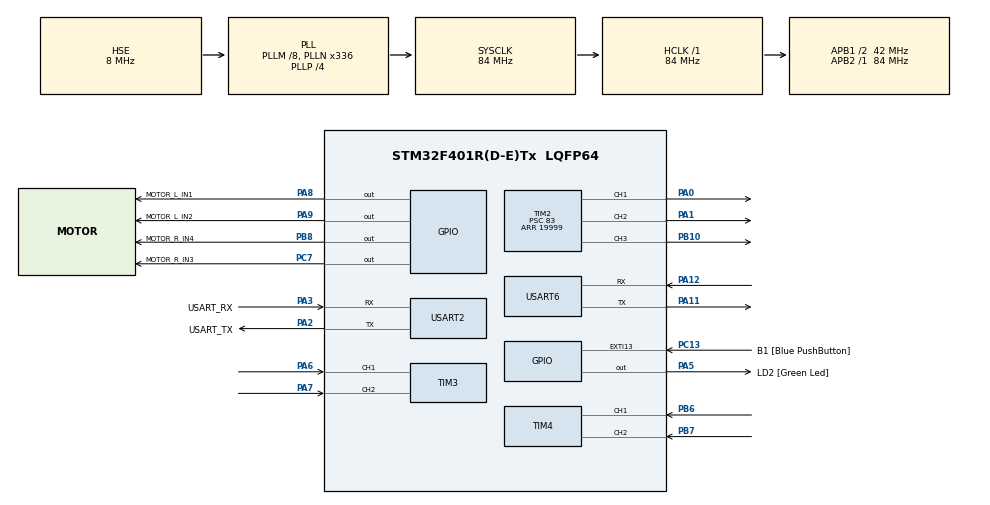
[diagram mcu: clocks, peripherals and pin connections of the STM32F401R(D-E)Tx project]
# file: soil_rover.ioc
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Dma.Request0=USART2_RX
Dma.Request1=USART2_TX
Dma.USART2_RX.0.Direction=DMA_PERIPH_TO_MEMORY
Dma.USART2_RX.0.FIFOMode=DMA_FIFOMODE_DISABLE
Dma.USART2_RX.0.Instance=DMA1_Stream5
Dma.USART2_RX.0.MemDataAlignment=DMA_MDATAALIGN_BYTE
Dma.USART2_RX.0.MemInc=DMA_MINC_ENABLE
Dma.USART2_RX.0.Mode=DMA_CIRCULAR
Dma.USART2_RX.0.PeriphDataAlignment=DMA_PDATAALIGN_BYTE
Dma.USART2_RX.0.PeriphInc=DMA_PINC_DISABLE
Dma.USART2_RX.0.Priority=DMA_PRIORITY_LOW
Dma.USART2_TX.1.Direction=DMA_MEMORY_TO_PERIPH
Dma.USART2_TX.1.FIFOMode=DMA_FIFOMODE_DISABLE
Dma.USART2_TX.1.Instance=DMA1_Stream6
Dma.USART2_TX.1.MemDataAlignment=DMA_MDATAALIGN_BYTE
Dma.USART2_TX.1.MemInc=DMA_MINC_ENABLE
Dma.USART2_TX.1.Mode=DMA_NORMAL
Dma.USART2_TX.1.PeriphDataAlignment=DMA_PDATAALIGN_BYTE
Dma.USART2_TX.1.PeriphInc=DMA_PINC_DISABLE
Dma.USART2_TX.1.Priority=DMA_PRIORITY_LOW
FREERTOS.Tasks01=microROSTask,24,2000,micro_ros_task,Default,NULL,Dynamic,NULL,NULL
FREERTOS.configMINIMAL_STACK_SIZE=256
FREERTOS.configTOTAL_HEAP_SIZE=40960
FREERTOS.configUSE_NEWLIB_REENTRANT=1
Mcu.Family=STM32F4
Mcu.Name=STM32F401R(D-E)Tx
Mcu.Package=LQFP64
NVIC.DMA1_Stream5_IRQn=true\:5\:0\:false\:false\:true\:true\:false\:true\:true
NVIC.DMA1_Stream6_IRQn=true\:5\:0\:false\:false\:true\:true\:false\:true\:true
NVIC.PriorityGroup=NVIC_PRIORITYGROUP_4
NVIC.TIM5_IRQn=true\:15\:0\:false\:false\:true\:false\:false\:true\:true
NVIC.TimeBase=TIM5_IRQn
NVIC.TimeBaseIP=TIM5
NVIC.USART2_IRQn=true\:5\:0\:false\:false\:true\:true\:true\:true\:true
PA0-WKUP.Signal=S_TIM2_CH1_ETR
PA1.Signal=S_TIM2_CH2
PA11.Mode=Asynchronous
PA11.Signal=USART6_TX
PA12.Mode=Asynchronous
PA12.Signal=USART6_RX
PA13.GPIO_Label=TMS
PA13.Signal=SYS_JTMS-SWDIO
PA14.GPIO_Label=TCK
PA14.Signal=SYS_JTCK-SWCLK
PA2.GPIO_Label=USART_TX
PA2.GPIO_Mode=GPIO_MODE_AF_PP
PA2.GPIO_PuPd=GPIO_NOPULL
PA2.GPIO_Speed=GPIO_SPEED_FREQ_LOW
PA2.Mode=Asynchronous
PA2.Signal=USART2_TX
PA3.GPIO_Label=USART_RX
PA3.GPIO_Mode=GPIO_MODE_AF_PP
PA3.GPIO_PuPd=GPIO_NOPULL
PA3.GPIO_Speed=GPIO_SPEED_FREQ_LOW
PA3.Mode=Asynchronous
PA3.Signal=USART2_RX
PA5.GPIO_Label=LD2 [Green Led]
PA5.GPIO_Mode=GPIO_MODE_OUTPUT_PP
PA5.GPIO_PuPd=GPIO_NOPULL
PA5.GPIO_Speed=GPIO_SPEED_FREQ_LOW
PA5.Signal=GPIO_Output
PA6.GPIO_PuPd=GPIO_PULLUP
PA6.Signal=S_TIM3_CH1
PA7.GPIO_PuPd=GPIO_PULLUP
PA7.Signal=S_TIM3_CH2
PA8.GPIO_Label=MOTOR_L_IN1
PA8.Signal=GPIO_Output
PA9.GPIO_Label=MOTOR_L_IN2
PA9.Signal=GPIO_Output
PB10.Signal=S_TIM2_CH3
PB3.GPIO_Label=SWO
PB3.Signal=SYS_JTDO-SWO
PB6.GPIO_PuPd=GPIO_PULLUP
PB6.Signal=S_TIM4_CH1
PB7.GPIO_PuPd=GPIO_PULLUP
PB7.Signal=S_TIM4_CH2
PB8.GPIO_Label=MOTOR_R_IN4
PB8.Signal=GPIO_Output
PC13-ANTI_TAMP.GPIO_Label=B1 [Blue PushButton]
PC13-ANTI_TAMP.GPIO_ModeDefaultEXTI=GPIO_MODE_IT_FALLING
PC13-ANTI_TAMP.GPIO_PuPd=GPIO_NOPULL
PC13-ANTI_TAMP.Signal=GPXTI13
PC14-OSC32_IN.Signal=RCC_OSC32_IN
PC15-OSC32_OUT.Signal=RCC_OSC32_OUT
PC7.GPIO_Label=MOTOR_R_IN3
PC7.Signal=GPIO_Output
PH0\ -\ OSC_IN.Mode=HSE-External-Clock-Source
PH0\ -\ OSC_IN.Signal=RCC_OSC_IN
PH1\ -\ OSC_OUT.Mode=HSE-External-Clock-Source
PH1\ -\ OSC_OUT.Signal=RCC_OSC_OUT
ProjectManager.HeapSize=0x200
ProjectManager.StackSize=0x400
ProjectManager.TargetToolchain=STM32CubeIDE
RCC.48MHZClocksFreq_Value=48000000
RCC.AHBFreq_Value=84000000
RCC.APB1CLKDivider=RCC_HCLK_DIV2
RCC.APB1Freq_Value=42000000
RCC.APB1TimFreq_Value=84000000
RCC.APB2Freq_Value=84000000
RCC.APB2TimFreq_Value=84000000
RCC.CortexFreq_Value=84000000
RCC.HCLKFreq_Value=84000000
RCC.HSE_VALUE=8000000
RCC.HSI_VALUE=16000000
RCC.LSE_VALUE=32768
RCC.PLLM=8
RCC.PLLN=336
RCC.PLLP=RCC_PLLP_DIV4
RCC.PLLQ=7
RCC.PLLSourceVirtual=RCC_PLLSOURCE_HSE
RCC.SYSCLKFreq_VALUE=84000000
RCC.SYSCLKSource=RCC_SYSCLKSOURCE_PLLCLK
RCC.VCOOutputFreq_Value=336000000
SH.S_TIM2_CH1_ETR.0=TIM2_CH1,PWM Generation1 CH1
SH.S_TIM2_CH2.0=TIM2_CH2,PWM Generation2 CH2
SH.S_TIM2_CH3.0=TIM2_CH3,PWM Generation3 CH3
SH.S_TIM3_CH1.0=TIM3_CH1,Encoder_Interface
SH.S_TIM3_CH2.0=TIM3_CH2,Encoder_Interface
SH.S_TIM4_CH1.0=TIM4_CH1,Encoder_Interface
SH.S_TIM4_CH2.0=TIM4_CH2,Encoder_Interface
TIM2.Channel-PWM\ Generation1\ CH1=TIM_CHANNEL_1
TIM2.Channel-PWM\ Generation2\ CH2=TIM_CHANNEL_2
TIM2.Channel-PWM\ Generation3\ CH3=TIM_CHANNEL_3
TIM2.Period=19999
TIM2.Prescaler=83
TIM2.Pulse-PWM\ Generation1\ CH1=1500
TIM3.EncoderMode=TIM_ENCODERMODE_TI12
TIM4.EncoderMode=TIM_ENCODERMODE_TI12
USART2.VirtualMode=VM_ASYNC
USART6.VirtualMode=VM_ASYNC
VP_FREERTOS_VS_CMSIS_V2.Mode=CMSIS_V2
VP_SYS_VS_tim5.Mode=TIM5
VP_TIM2_VS_ClockSourceINT.Mode=Internal
board=NUCLEO-F401RE

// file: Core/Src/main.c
/* USER CODE BEGIN Header */
/**
  ******************************************************************************
  * @file           : main.c
  * @brief          : Main program body
  ******************************************************************************
  * @attention
  *
  * Copyright (c) 2026 STMicroelectronics.
  * All rights reserved.
  *
  * This software is licensed under terms that can be found in the LICENSE file
  * in the root directory of this software component.
  * If no LICENSE file comes with this software, it is provided AS-IS.
  *
  ******************************************************************************
  */
/* USER CODE END Header */
#include "main.h"
#include "cmsis_os.h"

/* USER CODE BEGIN Includes */
#include <rcl/rcl.h>
#include <rcl/error_handling.h>
#include <rclc/rclc.h>
#include <rclc/executor.h>
#include <geometry_msgs/msg/twist.h>
#include <std_msgs/msg/int32.h>
#include <rmw_microros/rmw_microros.h>
#include <math.h>

extern bool cubemx_transport_open(struct uxrCustomTransport *transport);
extern bool cubemx_transport_close(struct uxrCustomTransport *transport);
extern size_t cubemx_transport_write(struct uxrCustomTransport *transport,
    const uint8_t *buf, size_t len, uint8_t *err);
extern size_t cubemx_transport_read(struct uxrCustomTransport *transport,
    uint8_t *buf, size_t len, int timeout, uint8_t *err);
/* USER CODE END Includes */

TIM_HandleTypeDef htim2;
TIM_HandleTypeDef htim3;
TIM_HandleTypeDef htim4;

UART_HandleTypeDef huart2;
UART_HandleTypeDef huart6;
DMA_HandleTypeDef hdma_usart2_rx;
DMA_HandleTypeDef hdma_usart2_tx;

/* Definitions for microROSTask */
osThreadId_t microROSTaskHandle;
const osThreadAttr_t microROSTask_attributes = {
  .name = "microROSTask",
  .stack_size = 2000 * 4,
  .priority = (osPriority_t) osPriorityNormal,
};
/* USER CODE BEGIN PV */
geometry_msgs__msg__Twist cmd_vel_msg;
std_msgs__msg__Int32      rover_status_msg;
geometry_msgs__msg__Twist wheel_odom_msg;
static uint32_t last_cmd_vel_time = 0;
#define CMD_VEL_TIMEOUT_MS  500  /* 500ms 타임아웃 */

/* 엔코더 상수 */
#define ENCODER_PPR        3087 /*1300   /* 26 × 50 (감속비) */
#define WHEEL_DIAMETER_M   0.08f /* 85mm */
#define WHEEL_CIRCUMFERENCE (3.14159f * WHEEL_DIAMETER_M)
/* 엔코더 변수 */
static int32_t enc_left_prev  = 0;
static int32_t enc_right_prev = 0;
static float   vel_left  = 0.0f;  /* m/s */
static float   vel_right = 0.0f;  /* m/s */

/* Ackermann 기하학 파라미터 */
#define WHEELBASE_M      0.175f  /* 축거 L */
#define TRACK_WIDTH_M    0.200f  /* 바퀴 간 거리 T */
#define MAX_STEER_ANGLE_RAD  0.5236f  /* 30도 = 0.5236 rad, 실측 후 조정 필요 */

/* ESP32로 전송할 텔레메트리 구조체 */
typedef struct __attribute__((packed)) {
    uint8_t  header;      /* 0xAA 고정 */
    uint16_t battery_mv;  /* 배터리 전압 */
    int16_t  motor_l_pwm; /* 왼쪽 모터 PWM */
    int16_t  motor_r_pwm; /* 오른쪽 모터 PWM */
    float    heading;     /* 방향각 */
    uint8_t  status;      /* 0:대기 1:주행 2:비상정지 */
    uint8_t  checksum;    /* XOR 체크섬 */
} rover_telem_t;

/* PID 게인 (초기값, 튜닝 필요) */
#define PID_KP   0.6f
#define PID_KI   0.6f
#define PID_KD   0.02f
#define PID_MAX_INTEGRAL  0.6f  /* 적분 와인드업 방지 */

typedef struct {
    float Kp, Ki, Kd;
    float integral;
    float prev_error;
} PID_t;

static PID_t pid_left  = {PID_KP, PID_KI, PID_KD, 0.0f, 0.0f};
static PID_t pid_right = {PID_KP, PID_KI, PID_KD, 0.0f, 0.0f};

/* 가속도 제한 상태 변수 */
static float smoothed_left  = 0.0f;  /* 현재 실제 적용 중인 목표속도 */
static float smoothed_right = 0.0f;
#define MAX_ACCEL  0.6f   /* m/s^2, 튜닝 필요 */

/* 데드존 보상 */
#define BREAKAWAY_PWM   15000   /* 정지 → 출발 시 필요한 PWM (12V 기준 실측) */
#define HOLDING_PWM     500   /* 이미 주행 중일 때 유지 최소 PWM (12V 기준 실측) */
#define MOVING_THRESHOLD 0.02f /* 이 속도(m/s) 이상이면 "이미 돌고 있다"고 판단 */

/* USER CODE END PV */

void SystemClock_Config(void);
static void MX_GPIO_Init(void);
static void MX_DMA_Init(void);
static void MX_USART2_UART_Init(void);
static void MX_TIM2_Init(void);
static void MX_USART6_UART_Init(void);
static void MX_TIM3_Init(void);
static void MX_TIM4_Init(void);
void micro_ros_task(void *argument);

/* USER CODE BEGIN PFP */
void cmd_vel_callback(const void *msgin);
/* USER CODE END PFP */

/* USER CODE BEGIN 0 */
/* PWM 범위: 0 ~ 19999 (Period) */
#define SERVO_NEUTRAL   1500
#define SERVO_MAX       2000
#define SERVO_MIN       1000
#define MOTOR_MAX       17999   /* 최대 80% duty (처음엔 안전하게) */

void set_servo_from_ackermann(float linear_x, float angular_z)
{
    float delta;
    const float V_MIN_FOR_STEERING = 0.05f;
    const float V_FULL_STEERING = 0.15f;   /* 이 속도 이상에서만 완전한 atan 계산 신뢰 */

    float abs_v = fabsf(linear_x);

    if (abs_v < V_MIN_FOR_STEERING) {
        delta = 0.0f;
    } else {
        /* atan 계산 시 분모를 V_FULL_STEERING 이상으로
           강제해서 분모가 너무 작아지는 걸 방지 */
        float effective_v = (abs_v < V_FULL_STEERING) ? V_FULL_STEERING : abs_v;
        float sign = (linear_x >= 0) ? 1.0f : -1.0f;
        delta = atanf(WHEELBASE_M * angular_z / (sign * effective_v));

        /* 저속 구간에서는 delta를 선형으로 줄여서 부드럽게 전환 */
        if (abs_v < V_FULL_STEERING) {
            float blend = (abs_v - V_MIN_FOR_STEERING)
                        / (V_FULL_STEERING - V_MIN_FOR_STEERING);
            delta *= blend;  /* 0~1 사이로 부드럽게 감쇠 */
        }
    }

    if (delta >  MAX_STEER_ANGLE_RAD) delta =  MAX_STEER_ANGLE_RAD;
    if (delta < -MAX_STEER_ANGLE_RAD) delta = -MAX_STEER_ANGLE_RAD;

    float angular_z_normalized = delta / MAX_STEER_ANGLE_RAD;
    int pulse = SERVO_NEUTRAL + (int)(-angular_z_normalized * 500.0f);
    if (pulse > SERVO_MAX) pulse = SERVO_MAX;
    if (pulse < SERVO_MIN) pulse = SERVO_MIN;
    __HAL_TIM_SET_COMPARE(&htim2, TIM_CHANNEL_1, pulse);
}

void set_servo_neutral(void)
{
    __HAL_TIM_SET_COMPARE(&htim2, TIM_CHANNEL_1, SERVO_NEUTRAL);
}

void set_servo(float angular_z)
{
    /* angular_z: -1.0(최대 좌) ~ +1.0(최대 우) */
    int pulse = SERVO_NEUTRAL + (int)(-angular_z * 500.0f);
    if (pulse > SERVO_MAX) pulse = SERVO_MAX;
    if (pulse < SERVO_MIN) pulse = SERVO_MIN;
    __HAL_TIM_SET_COMPARE(&htim2, TIM_CHANNEL_1, pulse);
}

void apply_motor_left_pwm(int pwm)
{
    if (pwm > 0) {
        HAL_GPIO_WritePin(MOTOR_L_IN1_GPIO_Port, MOTOR_L_IN1_Pin, GPIO_PIN_RESET);
        HAL_GPIO_WritePin(MOTOR_L_IN2_GPIO_Port, MOTOR_L_IN2_Pin, GPIO_PIN_SET);
    } else if (pwm < 0) {
        HAL_GPIO_WritePin(MOTOR_L_IN1_GPIO_Port, MOTOR_L_IN1_Pin, GPIO_PIN_SET);
        HAL_GPIO_WritePin(MOTOR_L_IN2_GPIO_Port, MOTOR_L_IN2_Pin, GPIO_PIN_RESET);
        pwm = -pwm;
    } else {
        HAL_GPIO_WritePin(MOTOR_L_IN1_GPIO_Port, MOTOR_L_IN1_Pin, GPIO_PIN_RESET);
        HAL_GPIO_WritePin(MOTOR_L_IN2_GPIO_Port, MOTOR_L_IN2_Pin, GPIO_PIN_RESET);
    }
    if (pwm > MOTOR_MAX) pwm = MOTOR_MAX;
    __HAL_TIM_SET_COMPARE(&htim2, TIM_CHANNEL_2, pwm);
}

void apply_motor_right_pwm(int pwm)
{
    if (pwm > 0) {
        HAL_GPIO_WritePin(MOTOR_R_IN3_GPIO_Port, MOTOR_R_IN3_Pin, GPIO_PIN_RESET);
        HAL_GPIO_WritePin(MOTOR_R_IN4_GPIO_Port, MOTOR_R_IN4_Pin, GPIO_PIN_SET);
    } else if (pwm < 0) {
        HAL_GPIO_WritePin(MOTOR_R_IN3_GPIO_Port, MOTOR_R_IN3_Pin, GPIO_PIN_SET);
        HAL_GPIO_WritePin(MOTOR_R_IN4_GPIO_Port, MOTOR_R_IN4_Pin, GPIO_PIN_RESET);
        pwm = -pwm;
    } else {
        HAL_GPIO_WritePin(MOTOR_R_IN3_GPIO_Port, MOTOR_R_IN3_Pin, GPIO_PIN_RESET);
        HAL_GPIO_WritePin(MOTOR_R_IN4_GPIO_Port, MOTOR_R_IN4_Pin, GPIO_PIN_RESET);
    }
    if (pwm > MOTOR_MAX) pwm = MOTOR_MAX;
    __HAL_TIM_SET_COMPARE(&htim2, TIM_CHANNEL_3, pwm);
}

static void test_deadzone_sweep(void)
{
    static int test_pwm = 17000;   /* 큰 값에서 시작해서 확실히 출발 */
    static uint32_t last_step_time = 0;
    static bool started = false;
    uint32_t now = osKernelGetTickCount();

    if (!started) {
        apply_motor_left_pwm(test_pwm);
        apply_motor_right_pwm(test_pwm);
        last_step_time = now;
        started = true;
        rover_status_msg.data = test_pwm;
        return;
    }

    if (now - last_step_time > 3000) {   /* 3초씩 유지하며 관찰 */
        test_pwm -= 500;   /* 점진적으로 감소 */
        if (test_pwm < 500) test_pwm = 17000;  /* 다시 리셋 */
        apply_motor_left_pwm(test_pwm);
        apply_motor_right_pwm(test_pwm);
        last_step_time = now;
        rover_status_msg.data = test_pwm;
    }
}

/* USER CODE END 0 */

int main(void)
{

  /* MCU Configuration--------------------------------------------------------*/

  /* Reset of all peripherals, Initializes the Flash interface and the Systick. */
  HAL_Init();

  /* Configure the system clock */
  SystemClock_Config();

  /* Initialize all configured peripherals */
  MX_GPIO_Init();
  MX_DMA_Init();
  MX_USART2_UART_Init();
  MX_TIM2_Init();
  MX_USART6_UART_Init();
  MX_TIM3_Init();
  MX_TIM4_Init();
  /* USER CODE BEGIN 2 */
  HAL_TIM_PWM_Start(&htim2, TIM_CHANNEL_1);  /* 서보 */
  HAL_TIM_PWM_Start(&htim2, TIM_CHANNEL_2);  /* 왼쪽 모터 */
  HAL_TIM_PWM_Start(&htim2, TIM_CHANNEL_3);  /* 오른쪽 모터 */

  /* 엔코더 시작 */
  HAL_TIM_Encoder_Start(&htim3, TIM_CHANNEL_ALL);  /* 왼쪽 엔코더 */
  HAL_TIM_Encoder_Start(&htim4, TIM_CHANNEL_ALL);  /* 오른쪽 엔코더 */

  /* 엔코더 카운터 초기화 */
  __HAL_TIM_SET_COUNTER(&htim3, 0);
  __HAL_TIM_SET_COUNTER(&htim4, 0);

  /* USER CODE END 2 */

  /* Init scheduler */
  osKernelInitialize();

  /* Create the thread(s) */
  /* creation of microROSTask */
  microROSTaskHandle = osThreadNew(micro_ros_task, NULL, &microROSTask_attributes);

  /* Start scheduler */
  osKernelStart();

  /* We should never get here as control is now taken by the scheduler */

  /* Infinite loop */
  while (1)
  {

  }
}

void SystemClock_Config(void)
{
  RCC_OscInitTypeDef RCC_OscInitStruct = {0};
  RCC_ClkInitTypeDef RCC_ClkInitStruct = {0};

  /** Configure the main internal regulator output voltage
  */
  __HAL_RCC_PWR_CLK_ENABLE();
  __HAL_PWR_VOLTAGESCALING_CONFIG(PWR_REGULATOR_VOLTAGE_SCALE2);

  /** Initializes the RCC Oscillators according to the specified parameters
  * in the RCC_OscInitTypeDef structure.
  */
  RCC_OscInitStruct.OscillatorType = RCC_OSCILLATORTYPE_HSE;
  RCC_OscInitStruct.HSEState = RCC_HSE_BYPASS;
  RCC_OscInitStruct.PLL.PLLState = RCC_PLL_ON;
  RCC_OscInitStruct.PLL.PLLSource = RCC_PLLSOURCE_HSE;
  RCC_OscInitStruct.PLL.PLLM = 8;
  RCC_OscInitStruct.PLL.PLLN = 336;
  RCC_OscInitStruct.PLL.PLLP = RCC_PLLP_DIV4;
  RCC_OscInitStruct.PLL.PLLQ = 7;
  if (HAL_RCC_OscConfig(&RCC_OscInitStruct) != HAL_OK)
  {
    Error_Handler();
  }

  /** Initializes the CPU, AHB and APB buses clocks
  */
  RCC_ClkInitStruct.ClockType = RCC_CLOCKTYPE_HCLK|RCC_CLOCKTYPE_SYSCLK
                              |RCC_CLOCKTYPE_PCLK1|RCC_CLOCKTYPE_PCLK2;
  RCC_ClkInitStruct.SYSCLKSource = RCC_SYSCLKSOURCE_PLLCLK;
  RCC_ClkInitStruct.AHBCLKDivider = RCC_SYSCLK_DIV1;
  RCC_ClkInitStruct.APB1CLKDivider = RCC_HCLK_DIV2;
  RCC_ClkInitStruct.APB2CLKDivider = RCC_HCLK_DIV1;

  if (HAL_RCC_ClockConfig(&RCC_ClkInitStruct, FLASH_LATENCY_2) != HAL_OK)
  {
    Error_Handler();
  }
}

static void MX_TIM2_Init(void)
{

  TIM_ClockConfigTypeDef sClockSourceConfig = {0};
  TIM_MasterConfigTypeDef sMasterConfig = {0};
  TIM_OC_InitTypeDef sConfigOC = {0};

  htim2.Instance = TIM2;
  htim2.Init.Prescaler = 83;
  htim2.Init.CounterMode = TIM_COUNTERMODE_UP;
  htim2.Init.Period = 19999;
  htim2.Init.ClockDivision = TIM_CLOCKDIVISION_DIV1;
  htim2.Init.AutoReloadPreload = TIM_AUTORELOAD_PRELOAD_DISABLE;
  if (HAL_TIM_Base_Init(&htim2) != HAL_OK)
  {
    Error_Handler();
  }
  sClockSourceConfig.ClockSource = TIM_CLOCKSOURCE_INTERNAL;
  if (HAL_TIM_ConfigClockSource(&htim2, &sClockSourceConfig) != HAL_OK)
  {
    Error_Handler();
  }
  if (HAL_TIM_PWM_Init(&htim2) != HAL_OK)
  {
    Error_Handler();
  }
  sMasterConfig.MasterOutputTrigger = TIM_TRGO_RESET;
  sMasterConfig.MasterSlaveMode = TIM_MASTERSLAVEMODE_DISABLE;
  if (HAL_TIMEx_MasterConfigSynchronization(&htim2, &sMasterConfig) != HAL_OK)
  {
    Error_Handler();
  }
  sConfigOC.OCMode = TIM_OCMODE_PWM1;
  sConfigOC.Pulse = 1500;
  sConfigOC.OCPolarity = TIM_OCPOLARITY_HIGH;
  sConfigOC.OCFastMode = TIM_OCFAST_DISABLE;
  if (HAL_TIM_PWM_ConfigChannel(&htim2, &sConfigOC, TIM_CHANNEL_1) != HAL_OK)
  {
    Error_Handler();
  }
  sConfigOC.Pulse = 0;
  if (HAL_TIM_PWM_ConfigChannel(&htim2, &sConfigOC, TIM_CHANNEL_2) != HAL_OK)
  {
    Error_Handler();
  }
  if (HAL_TIM_PWM_ConfigChannel(&htim2, &sConfigOC, TIM_CHANNEL_3) != HAL_OK)
  {
    Error_Handler();
  }
  HAL_TIM_MspPostInit(&htim2);

}

static void MX_TIM3_Init(void)
{

  TIM_Encoder_InitTypeDef sConfig = {0};
  TIM_MasterConfigTypeDef sMasterConfig = {0};

  htim3.Instance = TIM3;
  htim3.Init.Prescaler = 0;
  htim3.Init.CounterMode = TIM_COUNTERMODE_UP;
  htim3.Init.Period = 65535;
  htim3.Init.ClockDivision = TIM_CLOCKDIVISION_DIV1;
  htim3.Init.AutoReloadPreload = TIM_AUTORELOAD_PRELOAD_DISABLE;
  sConfig.EncoderMode = TIM_ENCODERMODE_TI12;
  sConfig.IC1Polarity = TIM_ICPOLARITY_RISING;
  sConfig.IC1Selection = TIM_ICSELECTION_DIRECTTI;
  sConfig.IC1Prescaler = TIM_ICPSC_DIV1;
  sConfig.IC1Filter = 0;
  sConfig.IC2Polarity = TIM_ICPOLARITY_RISING;
  sConfig.IC2Selection = TIM_ICSELECTION_DIRECTTI;
  sConfig.IC2Prescaler = TIM_ICPSC_DIV1;
  sConfig.IC2Filter = 0;
  if (HAL_TIM_Encoder_Init(&htim3, &sConfig) != HAL_OK)
  {
    Error_Handler();
  }
  sMasterConfig.MasterOutputTrigger = TIM_TRGO_RESET;
  sMasterConfig.MasterSlaveMode = TIM_MASTERSLAVEMODE_DISABLE;
  if (HAL_TIMEx_MasterConfigSynchronization(&htim3, &sMasterConfig) != HAL_OK)
  {
    Error_Handler();
  }

}

static void MX_TIM4_Init(void)
{

  TIM_Encoder_InitTypeDef sConfig = {0};
  TIM_MasterConfigTypeDef sMasterConfig = {0};

  htim4.Instance = TIM4;
  htim4.Init.Prescaler = 0;
  htim4.Init.CounterMode = TIM_COUNTERMODE_UP;
  htim4.Init.Period = 65535;
  htim4.Init.ClockDivision = TIM_CLOCKDIVISION_DIV1;
  htim4.Init.AutoReloadPreload = TIM_AUTORELOAD_PRELOAD_DISABLE;
  sConfig.EncoderMode = TIM_ENCODERMODE_TI12;
  sConfig.IC1Polarity = TIM_ICPOLARITY_RISING;
  sConfig.IC1Selection = TIM_ICSELECTION_DIRECTTI;
  sConfig.IC1Prescaler = TIM_ICPSC_DIV1;
  sConfig.IC1Filter = 0;
  sConfig.IC2Polarity = TIM_ICPOLARITY_RISING;
  sConfig.IC2Selection = TIM_ICSELECTION_DIRECTTI;
  sConfig.IC2Prescaler = TIM_ICPSC_DIV1;
  sConfig.IC2Filter = 0;
  if (HAL_TIM_Encoder_Init(&htim4, &sConfig) != HAL_OK)
  {
    Error_Handler();
  }
  sMasterConfig.MasterOutputTrigger = TIM_TRGO_RESET;
  sMasterConfig.MasterSlaveMode = TIM_MASTERSLAVEMODE_DISABLE;
  if (HAL_TIMEx_MasterConfigSynchronization(&htim4, &sMasterConfig) != HAL_OK)
  {
    Error_Handler();
  }

}

static void MX_USART2_UART_Init(void)
{

  huart2.Instance = USART2;
  huart2.Init.BaudRate = 115200;
  huart2.Init.WordLength = UART_WORDLENGTH_8B;
  huart2.Init.StopBits = UART_STOPBITS_1;
  huart2.Init.Parity = UART_PARITY_NONE;
  huart2.Init.Mode = UART_MODE_TX_RX;
  huart2.Init.HwFlowCtl = UART_HWCONTROL_NONE;
  huart2.Init.OverSampling = UART_OVERSAMPLING_16;
  if (HAL_UART_Init(&huart2) != HAL_OK)
  {
    Error_Handler();
  }

}

static void MX_USART6_UART_Init(void)
{

  huart6.Instance = USART6;
  huart6.Init.BaudRate = 115200;
  huart6.Init.WordLength = UART_WORDLENGTH_8B;
  huart6.Init.StopBits = UART_STOPBITS_1;
  huart6.Init.Parity = UART_PARITY_NONE;
  huart6.Init.Mode = UART_MODE_TX_RX;
  huart6.Init.HwFlowCtl = UART_HWCONTROL_NONE;
  huart6.Init.OverSampling = UART_OVERSAMPLING_16;
  if (HAL_UART_Init(&huart6) != HAL_OK)
  {
    Error_Handler();
  }

}

static void MX_DMA_Init(void)
{

  /* DMA controller clock enable */
  __HAL_RCC_DMA1_CLK_ENABLE();

  /* DMA interrupt init */
  /* DMA1_Stream5_IRQn interrupt configuration */
  HAL_NVIC_SetPriority(DMA1_Stream5_IRQn, 5, 0);
  HAL_NVIC_EnableIRQ(DMA1_Stream5_IRQn);
  /* DMA1_Stream6_IRQn interrupt configuration */
  HAL_NVIC_SetPriority(DMA1_Stream6_IRQn, 5, 0);
  HAL_NVIC_EnableIRQ(DMA1_Stream6_IRQn);

}

static void MX_GPIO_Init(void)
{
  GPIO_InitTypeDef GPIO_InitStruct = {0};

  /* GPIO Ports Clock Enable */
  __HAL_RCC_GPIOC_CLK_ENABLE();
  __HAL_RCC_GPIOH_CLK_ENABLE();
  __HAL_RCC_GPIOA_CLK_ENABLE();
  __HAL_RCC_GPIOB_CLK_ENABLE();

  /*Configure GPIO pin Output Level */
  HAL_GPIO_WritePin(GPIOA, LD2_Pin|MOTOR_L_IN1_Pin|MOTOR_L_IN2_Pin, GPIO_PIN_RESET);

  /*Configure GPIO pin Output Level */
  HAL_GPIO_WritePin(MOTOR_R_IN3_GPIO_Port, MOTOR_R_IN3_Pin, GPIO_PIN_RESET);

  /*Configure GPIO pin Output Level */
  HAL_GPIO_WritePin(MOTOR_R_IN4_GPIO_Port, MOTOR_R_IN4_Pin, GPIO_PIN_RESET);

  /*Configure GPIO pin : B1_Pin */
  GPIO_InitStruct.Pin = B1_Pin;
  GPIO_InitStruct.Mode = GPIO_MODE_IT_FALLING;
  GPIO_InitStruct.Pull = GPIO_NOPULL;
  HAL_GPIO_Init(B1_GPIO_Port, &GPIO_InitStruct);

  /*Configure GPIO pins : LD2_Pin MOTOR_L_IN1_Pin MOTOR_L_IN2_Pin */
  GPIO_InitStruct.Pin = LD2_Pin|MOTOR_L_IN1_Pin|MOTOR_L_IN2_Pin;
  GPIO_InitStruct.Mode = GPIO_MODE_OUTPUT_PP;
  GPIO_InitStruct.Pull = GPIO_NOPULL;
  GPIO_InitStruct.Speed = GPIO_SPEED_FREQ_LOW;
  HAL_GPIO_Init(GPIOA, &GPIO_InitStruct);

  /*Configure GPIO pin : MOTOR_R_IN3_Pin */
  GPIO_InitStruct.Pin = MOTOR_R_IN3_Pin;
  GPIO_InitStruct.Mode = GPIO_MODE_OUTPUT_PP;
  GPIO_InitStruct.Pull = GPIO_NOPULL;
  GPIO_InitStruct.Speed = GPIO_SPEED_FREQ_LOW;
  HAL_GPIO_Init(MOTOR_R_IN3_GPIO_Port, &GPIO_InitStruct);

  /*Configure GPIO pin : MOTOR_R_IN4_Pin */
  GPIO_InitStruct.Pin = MOTOR_R_IN4_Pin;
  GPIO_InitStruct.Mode = GPIO_MODE_OUTPUT_PP;
  GPIO_InitStruct.Pull = GPIO_NOPULL;
  GPIO_InitStruct.Speed = GPIO_SPEED_FREQ_LOW;
  HAL_GPIO_Init(MOTOR_R_IN4_GPIO_Port, &GPIO_InitStruct);

}

/* USER CODE BEGIN 4 */

/* 전역 목표 변수 추가 */
static volatile float target_linear_x  = 0.0f;
static volatile float target_angular_z = 0.0f;

void cmd_vel_callback(const void *msgin)
{
    const geometry_msgs__msg__Twist *msg =
        (const geometry_msgs__msg__Twist *)msgin;

    /* 마지막 수신 시간 업데이트 */
    last_cmd_vel_time = osKernelGetTickCount();

    target_linear_x  = msg->linear.x;   /* -1.0 ~ +1.0 */
    target_angular_z = msg->angular.z;  /* -1.0 ~ +1.0 */

    /* 서보 조향 */
    set_servo_from_ackermann(target_linear_x, target_angular_z);
}

/* Failsafe 함수 */
void emergency_stop(void)
{
	apply_motor_left_pwm(0);
	apply_motor_right_pwm(0);
    set_servo_neutral();   /* set_servo(0.0f) 대신 */
    HAL_GPIO_WritePin(LD2_GPIO_Port, LD2_Pin, GPIO_PIN_RESET); /* LED OFF */

    /* PID/가속도 제한 상태 리셋 - 재출발 시 이전 값 영향 방지 */
	smoothed_left  = 0.0f;
	smoothed_right = 0.0f;
	pid_left.integral   = 0.0f;
	pid_left.prev_error = 0.0f;
	pid_right.integral   = 0.0f;
	pid_right.prev_error = 0.0f;

	/* 목표값도 0으로 (재출발 시 갑자기 튀는 것 방지) */
	target_linear_x  = 0.0f;
	target_angular_z = 0.0f;
}

/* 체크섬 계산 */
static uint8_t calc_checksum(uint8_t *data, uint8_t len)
{
    uint8_t cs = 0;
    for (uint8_t i = 0; i < len; i++) cs ^= data[i];
    return cs;
}

/* ESP32로 텔레메트리 전송 */
void send_telemetry_to_esp32(void)
{
    rover_telem_t telem;
    telem.header     = 0xAA;
    telem.battery_mv = 7400;  /* TODO: 실제 ADC 측정값 */

    /* 현재 모터 PWM값 읽기 */
    telem.motor_l_pwm = (int16_t)__HAL_TIM_GET_COMPARE(
                            &htim2, TIM_CHANNEL_2);
    telem.motor_r_pwm = (int16_t)__HAL_TIM_GET_COMPARE(
                            &htim2, TIM_CHANNEL_3);
    telem.heading     = 0.0f;  /* TODO: BNO055 연동 후 */
    telem.status      = 1;

    /* 체크섬 계산 (header 제외) */
    telem.checksum = calc_checksum(
        (uint8_t*)&telem + 1,
        sizeof(rover_telem_t) - 2
    );

    /* USART6으로 전송 */
    HAL_UART_Transmit(&huart6,
        (uint8_t*)&telem,
        sizeof(rover_telem_t),
        100);
}

void read_encoder(float dt)
{
    /* 현재 카운터 값 읽기 */
    int32_t enc_left  = (int32_t)__HAL_TIM_GET_COUNTER(&htim3);
    int32_t enc_right = (int32_t)__HAL_TIM_GET_COUNTER(&htim4);

    /* 오버플로우 처리 */
    int32_t delta_left  = enc_left  - enc_left_prev;
    int32_t delta_right = enc_right - enc_right_prev;

    /* 오버플로우 보정 */
    if (delta_left  > 32767)  delta_left  -= 65536;
    if (delta_left  < -32767) delta_left  += 65536;
    if (delta_right > 32767)  delta_right -= 65536;
    if (delta_right < -32767) delta_right += 65536;

    /* 속도 계산 (m/s) */
    vel_left  = (float)delta_left  / ENCODER_PPR
                * WHEEL_CIRCUMFERENCE / dt;
    vel_right = (float)delta_right / ENCODER_PPR
                * WHEEL_CIRCUMFERENCE / dt;

    enc_left_prev  = enc_left;
    enc_right_prev = enc_right;
}

/* 서보 pulse → 실제 조향각(라디안) 역산 */
static float get_steering_angle_rad(void)
{
    /* set_servo에서: pulse = 1500 - angular_z*500 (angular_z: -1~1) */
    /* 최대 조향각을 실측 또는 가정값으로 설정 (예: ±30도) */
    int current_pulse = __HAL_TIM_GET_COMPARE(&htim2, TIM_CHANNEL_1);
    float angular_z_est = -(float)(current_pulse - SERVO_NEUTRAL) / 500.0f;
    return angular_z_est * MAX_STEER_ANGLE_RAD;
}

/* 오른쪽 바퀴 속도로부터 중심 속도, 왼쪽 바퀴 속도 계산 */
static void estimate_wheel_speeds(float v_right_meas, float *v_center_out, float *v_left_out)
{
    float delta = get_steering_angle_rad();

    if (fabsf(delta) < 0.01f) {
        /* 직진: 좌우 동일 */
        *v_center_out = v_right_meas;
        *v_left_out   = v_right_meas;
        return;
    }

    float R = WHEELBASE_M / tanf(delta);  /* 회전 반경 (부호 있음) */

    /* v_right = v_center * (R + T/2) / R  →  v_center 역산 */
    float v_center = v_right_meas * R / (R + TRACK_WIDTH_M / 2.0f);
    float v_left   = v_center * (R - TRACK_WIDTH_M / 2.0f) / R;

    *v_center_out = v_center;
    *v_left_out   = v_left;
}

/* Ackermann 모델 기반 yaw_rate 계산 */
static float compute_yaw_rate(float v_center)
{
    float delta = get_steering_angle_rad();
    if (fabsf(delta) < 0.001f) return 0.0f;
    return v_center * tanf(delta) / WHEELBASE_M;
}

/* PID 계산: target(m/s), actual(m/s), dt(s) → PWM 보정값(-1~1 범위 duty) */
static float pid_update(PID_t *pid, float target, float actual, float dt)
{
    float error = target - actual;

    pid->integral += error * dt;
    if (pid->integral >  PID_MAX_INTEGRAL) pid->integral =  PID_MAX_INTEGRAL;
    if (pid->integral < -PID_MAX_INTEGRAL) pid->integral = -PID_MAX_INTEGRAL;

    float derivative = (error - pid->prev_error) / dt;
    pid->prev_error = error;

    float output = pid->Kp * error
                 + pid->Ki * pid->integral
                 + pid->Kd * derivative;

    return output;  /* duty 보정값, -1.0~1.0 근처로 clamp 필요 */
}

/* 가속도 제한: 목표속도를 부드럽게 추종 */
static float apply_accel_limit(float *smoothed, float target, float dt)
{
    float max_delta = MAX_ACCEL * dt;
    float diff = target - *smoothed;

    if (diff >  max_delta) diff =  max_delta;
    if (diff < -max_delta) diff = -max_delta;

    *smoothed += diff;
    return *smoothed;
}
#define BREAKAWAY_HOLD_MS  300

static bool     in_breakaway = false;
static uint32_t breakaway_start_time = 0;
/* 데드존 보상: 목표 duty가 있는데 너무 작으면 최소 구동력 보장 */
static int apply_deadzone(float duty_normalized, float current_actual_speed)
{
    //uint32_t now = osKernelGetTickCount();

	if (fabsf(duty_normalized) < 0.02f) {
		return 0;  /* 완전 정지 목표는 그대로 0 */
	}
    /* duty_normalized: -1.0 ~ 1.0 */
    int pwm = (int)(duty_normalized * MOTOR_MAX);
    /*bool already_moving = fabsf(current_actual_speed) > MOVING_THRESHOLD;
    int threshold = already_moving ? HOLDING_PWM : BREAKAWAY_PWM;

    if (pwm > 0 && pwm < threshold) pwm = threshold;
    if (pwm < 0 && pwm > -threshold) pwm = -threshold;*/
    /*if (!already_moving && !in_breakaway) {
            in_breakaway = true;
            breakaway_start_time = now;
        }

        if (in_breakaway) {
            if ((now - breakaway_start_time) < BREAKAWAY_HOLD_MS) {
                if (pwm > 0 && pwm < BREAKAWAY_PWM) pwm = BREAKAWAY_PWM;
                if (pwm < 0 && pwm > -BREAKAWAY_PWM) pwm = -BREAKAWAY_PWM;
                return pwm;
            } else {
                in_breakaway = false;
            }
        }

        if (pwm > 0 && pwm < HOLDING_PWM) pwm = HOLDING_PWM;
        if (pwm < 0 && pwm > -HOLDING_PWM) pwm = -HOLDING_PWM;*/

    return pwm;
}

/* USER CODE END 4 */

void micro_ros_task(void *argument)
{
  /* USER CODE BEGIN 5 */
	rmw_uros_set_custom_transport(
	      true, (void *)&huart2,
	      cubemx_transport_open,
	      cubemx_transport_close,
	      cubemx_transport_write,
	      cubemx_transport_read
	  );

	  rcl_allocator_t    allocator = rcl_get_default_allocator();
	  rclc_support_t     support;
	  rcl_node_t         node;
	  rcl_subscription_t subscriber;
	  rcl_publisher_t    publisher;
	  rcl_publisher_t wheel_odom_publisher;
	  rclc_executor_t    executor;

	  /* Agent 연결 대기 */
	  while (rmw_uros_ping_agent(100, 1) != RMW_RET_OK) {
	      HAL_GPIO_WritePin(LD2_GPIO_Port, LD2_Pin, GPIO_PIN_RESET);
	      osDelay(100);
	  }
	  HAL_GPIO_WritePin(LD2_GPIO_Port, LD2_Pin, GPIO_PIN_SET); /* 연결 성공 LED ON */

	  rclc_support_init(&support, 0, NULL, &allocator);
	  rclc_node_init_default(&node, "stm32_rover_node", "", &support);

	  rclc_subscription_init_default(
	      &subscriber, &node,
	      ROSIDL_GET_MSG_TYPE_SUPPORT(geometry_msgs, msg, Twist),
	      "/cmd_vel"
	  );

	  rclc_publisher_init_default(
	      &publisher, &node,
	      ROSIDL_GET_MSG_TYPE_SUPPORT(std_msgs, msg, Int32),
	      "/rover_status"
	  );

	  rclc_publisher_init_default(
	      &wheel_odom_publisher, &node,
	      ROSIDL_GET_MSG_TYPE_SUPPORT(geometry_msgs, msg, Twist),
	      "/wheel_odom"
	  );

	  rclc_executor_init(&executor, &support.context, 1, &allocator);
	  rclc_executor_add_subscription(
	      &executor, &subscriber,
	      &cmd_vel_msg, &cmd_vel_callback, ON_NEW_DATA
	  );

	  //rover_status_msg.data = 0;
	  static uint32_t telem_counter = 0;
#define TEST_MODE_SWEEP  0   /* 1이면 스윕 테스트, 0이면 정상 주행 */

	  for (;;) {
	      rclc_executor_spin_some(&executor, RCL_MS_TO_NS(10));

	      /* 엔코더 읽기 (100ms마다) */
	      read_encoder(0.1f);  /* dt = 100ms */
#if TEST_MODE_SWEEP
	      test_deadzone_sweep();
#else
	      /* 목표 좌/우 바퀴 속도 계산 (기존 기하학 함수 재사용)*/
		  float target_v_center = target_linear_x;
		  float target_correction = target_angular_z * 0.3f;
		  float target_left  = target_v_center;
		  float target_right = target_v_center;

		  /* 가속도 제한 적용*/
		  float smooth_left_target  = apply_accel_limit(&smoothed_left,  target_left,  0.1f);
		  float smooth_right_target = apply_accel_limit(&smoothed_right, target_right, 0.1f);

		  /* PID로 실제 속도 추종 (vel_left, vel_right는 read_encoder에서 갱신)*/
		  float pid_out_left  = pid_update(&pid_left,  smooth_left_target,  vel_right,  0.1f);
		  float pid_out_right = pid_update(&pid_right, smooth_right_target, vel_right, 0.1f);

		  /* PID 출력을 duty(-1~1)로 clamp*/
		  if (pid_out_left  >  1.0f) pid_out_left  =  1.0f;
		  if (pid_out_left  < -1.0f) pid_out_left  = -1.0f;
		  if (pid_out_right >  1.0f) pid_out_right =  1.0f;
		  if (pid_out_right < -1.0f) pid_out_right = -1.0f;

		  /* 데드존 보상 + PWM 적용*/
		  if (fabsf(target_left) < 0.01f && fabsf(vel_right) < 0.01f) {
			  apply_motor_left_pwm(0);
			  pid_left.integral = 0;  /* 정지 시 적분 리셋*/
		  } else {
			  apply_motor_left_pwm(apply_deadzone(pid_out_right, vel_right));
		  }

		  if (fabsf(target_right) < 0.01f && fabsf(vel_right) < 0.01f) {
			  apply_motor_right_pwm(0);
			  pid_right.integral = 0;
		  } else {
			  apply_motor_right_pwm(apply_deadzone(pid_out_right, vel_right));
		  }
#endif
	      float v_center, v_left_est;
	      estimate_wheel_speeds(vel_right, &v_center, &v_left_est);
	      float yaw_rate = compute_yaw_rate(v_center);

	      /* wheel_odom 발행 (Twist) */
		  wheel_odom_msg.linear.x  = v_center;
		  wheel_odom_msg.linear.y  = 0.0;
		  wheel_odom_msg.linear.z  = 0.0;
		  wheel_odom_msg.angular.x = 0.0;
		  wheel_odom_msg.angular.y = 0.0;
		  wheel_odom_msg.angular.z = yaw_rate;
		  rcl_publish(&wheel_odom_publisher, &wheel_odom_msg, NULL);

	      /* Failsafe 체크*/
		  uint32_t current_time = osKernelGetTickCount();
		  if ((current_time - last_cmd_vel_time) > CMD_VEL_TIMEOUT_MS) {
			  emergency_stop();
		  }
	      rover_status_msg.data = (int32_t)__HAL_TIM_GET_COMPARE(&htim2, TIM_CHANNEL_2);//++;
	      (void)rcl_publish(&publisher, &rover_status_msg, NULL);

	      /* ESP32로 텔레메트리 전송 (1초마다) */
	      if(++telem_counter >= 10){
	    	  send_telemetry_to_esp32();
	    	  telem_counter = 0;
	      }
	      osDelay(100);
	  }
  /* USER CODE END 5 */
}

void HAL_TIM_PeriodElapsedCallback(TIM_HandleTypeDef *htim)
{
  if (htim->Instance == TIM5)
  {
    HAL_IncTick();
  }
}

void Error_Handler(void)
{
  __disable_irq();
  while (1)
  {
  }
}
